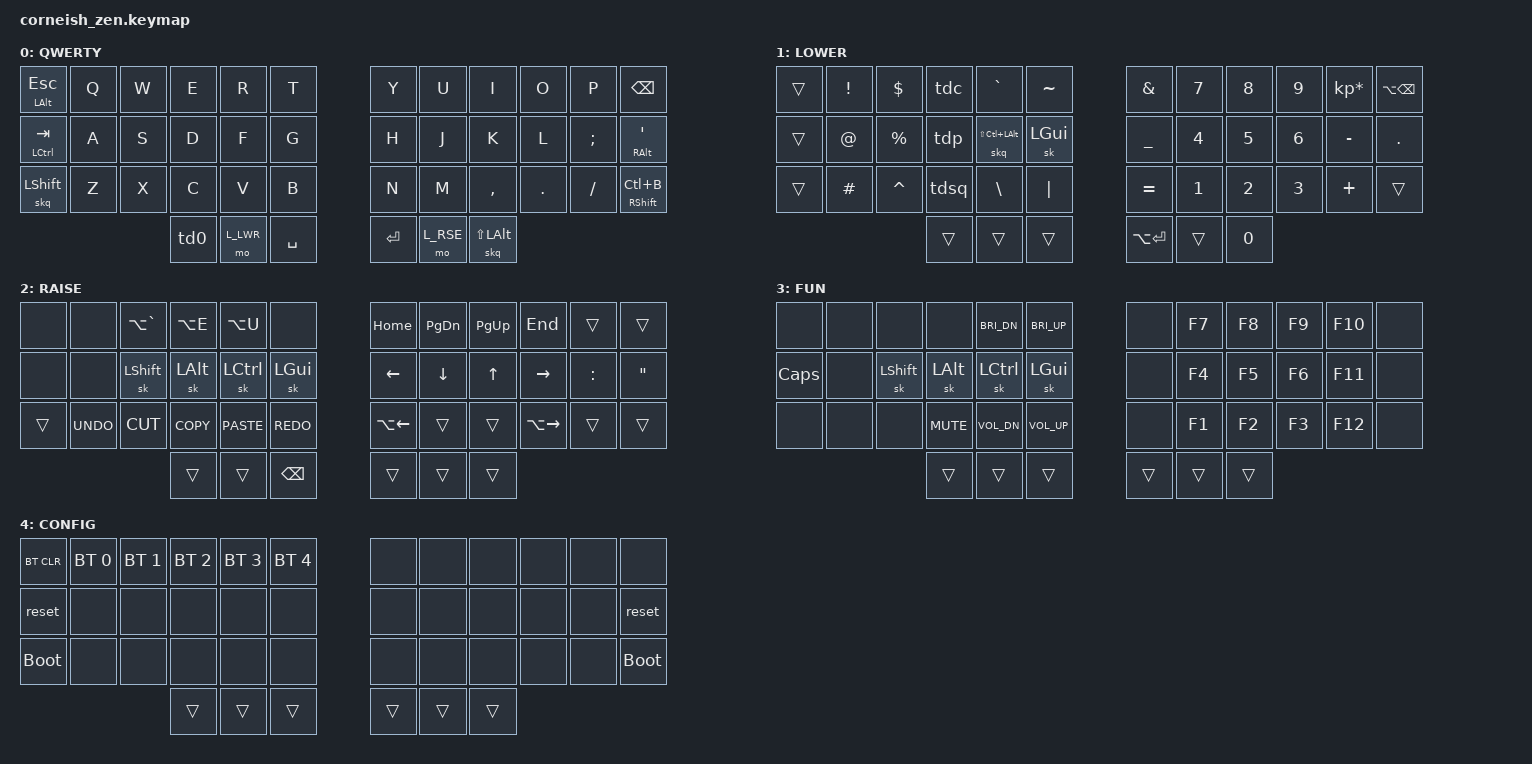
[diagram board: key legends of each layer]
#include <behaviors.dtsi>
#include <dt-bindings/zmk/keys.h>
#include <dt-bindings/zmk/bt.h>

#define QWERTY 0
#define L_LWR 1
#define L_RSE 2
#define L_FUN 3
#define L_CFG 4

#define TMUX LC(B)

#define ACC_OPEN LA(GRAVE)
#define ACC_CLOSE LA(E)
#define UMLAUT LA(U)

#define RLWL LA(LEFT)
#define RLWR LA(RIGHT)

/ {
  chosen {
    zmk,matrix_transform = &default_transform;
  };
};

&mt {
    flavor = "hold-preferred";
    tapping-term-ms = <200>;
};

&lt {
    tapping-term-ms = <200>;
};

/ {

        combos {
          compatible = "zmk,combos";
          combo_cfg {
            timeout-ms = <50>;
            key-positions = <40 41>;
            bindings = <&mo L_CFG>;
          };
          combo_skshift {
            timeout-ms = <40>;
            key-positions = <16 19>;
            bindings = <&skq LSHIFT>;
          };
        };

        behaviors {
          td0: tap_dance_0 {
            compatible = "zmk,behavior-tap-dance";
            label = "TAP_DANCE_0";
            #binding-cells = <0>;
            tapping-term-ms = <200>;
            bindings = <&kp LGUI>, <&kp LG(SPACE)>;
          };

          tdp: td_par {
            compatible = "zmk,behavior-tap-dance";
            label = "TD_PAR";
            #binding-cells = <0>;
            tapping-term-ms = <200>;
            bindings = <&kp LPAR>, <&kp RPAR>;
          };

          tdc: td_curly {
            compatible = "zmk,behavior-tap-dance";
            label = "TD_CURLY";
            #binding-cells = <0>;
            tapping-term-ms = <200>;
            bindings = <&kp LBRC>, <&kp RBRC>;
          };

          tdsq: td_sq {
            compatible = "zmk,behavior-tap-dance";
            label = "TD_SQ";
            #binding-cells = <0>;
            tapping-term-ms = <200>;
            bindings = <&kp LBKT>, <&kp RBKT>;
          };

          skq: sticky_key_quick_release {
            compatible = "zmk,behavior-sticky-key";
            label = "STICKY_KEY_QUICK_RELEASE";
            #binding-cells = <1>;
            bindings = <&kp>;
            release-after-ms = <1000>;
            quick-release;
            ignore-modifiers;
          };
        };

        conditional_layers {
          compatible = "zmk,conditional-layers";
          tri_layer {
            if-layers = <L_LWR L_RSE>;
            then-layer = <L_FUN>;
          };
        };

        keymap {
                compatible = "zmk,keymap";

                default_layer {
                        label = "QWERTY";
                        bindings = <
&mt LALT ESC    &kp Q   &kp W   &kp E   &kp R       &kp T                       &kp Y    &kp U      &kp I       &kp O    &kp P     &kp BSPC
&mt LCTRL TAB   &kp A   &kp S   &kp D   &kp F       &kp G                       &kp H    &kp J      &kp K       &kp L    &kp SEMI  &mt RALT SQT
&skq LSHFT      &kp Z   &kp X   &kp C   &kp V       &kp B                       &kp N    &kp M      &kp COMMA	&kp DOT  &kp FSLH  &mt RSHFT TMUX
                                &td0    &mo L_LWR   &kp SPACE                   &kp RET  &mo L_RSE  &skq LS(LALT)
                        >;
                };

                lwr_layer {
                        label = "LOWER";
                        bindings = <
&trans  &kp EXCL    &kp DLLR    &tdc     &kp GRAVE  &kp TILDE              &kp AMPS    &kp N7  &kp N8  &kp N9  &kp KP_MULTIPLY  &kp LA(BSPC)
&trans  &kp AT      &kp PRCNT   &tdp     &skq LS(LC(LALT))  &sk LGUI               &kp UNDER   &kp N4  &kp N5  &kp N6  &kp MINUS        &kp DOT
&trans  &kp HASH    &kp CARET   &tdsq    &kp BSLH   &kp PIPE               &kp EQUAL   &kp N1  &kp N2  &kp N3  &kp PLUS         &trans
                                &trans   &trans     &trans                 &kp LA(RET) &trans  &kp N0
                        >;
                };

                rse_layer {
                        label = "RAISE";
                        bindings = <
&none   &none       &kp ACC_OPEN    &kp ACC_CLOSE   &kp UMLAUT   &none          &kp HOME  &kp PG_DN  &kp PG_UP  &kp END    &trans    &trans
&none   &none       &sk LSHFT       &sk LALT        &sk LCTRL    &sk LGUI       &kp LEFT  &kp DOWN   &kp UP     &kp RIGHT  &kp COLON &kp DQT
&trans  &kp K_UNDO  &kp K_CUT       &kp K_COPY      &kp K_PASTE  &kp K_REDO     &kp RLWL  &trans     &trans     &kp RLWR   &trans    &trans
                                    &trans          &trans       &kp BSPC       &trans    &trans     &trans
                        >;
                };

                fun_layer {
                        label = "FUN";
                        bindings = <
&none     &none    &none      &none       &kp C_BRI_DN  &kp C_BRI_UP            &none   &kp F7  &kp F8  &kp F9  &kp F10  &none
&kp CAPS  &none    &sk LSHFT  &sk LALT    &sk LCTRL     &sk LGUI                &none   &kp F4  &kp F5  &kp F6  &kp F11  &none
&none     &none    &none      &kp C_MUTE  &kp C_VOL_DN  &kp C_VOL_UP            &none   &kp F1  &kp F2  &kp F3  &kp F12  &none
                              &trans      &trans        &trans                  &trans  &trans  &trans
                        >;
                };

                cfg_layer {
                        label = "CONFIG";
                        bindings = <
&bt BT_CLR   &bt BT_SEL 0 &bt BT_SEL 1 &bt BT_SEL 2 &bt BT_SEL 3 &bt BT_SEL 4   &none   &none   &none   &none  &none  &none
&reset       &none        &none        &none        &none        &none          &none   &none   &none   &none  &none  &reset
&bootloader  &none        &none        &none        &none        &none          &none   &none   &none   &none  &none  &bootloader
                                       &trans       &trans       &trans         &trans  &trans  &trans
                        >;
                };
        };
};
